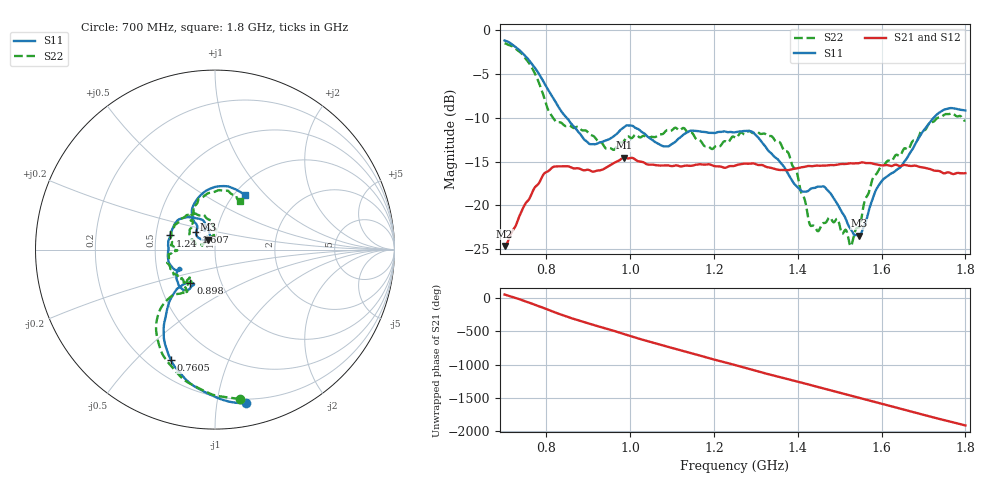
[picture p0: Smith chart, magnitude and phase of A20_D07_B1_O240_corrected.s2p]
! Created with skrf 1.9.0 (http://scikit-rf.org).
# Hz S RI R 50.0
!freq ReS11 ImS11 ReS21 ImS21 ReS12 ImS12 ReS22 ImS22
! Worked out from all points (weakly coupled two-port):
!   1601 points, 700 MHz to 1.8 GHz, reference 50 ohm
!   highest |S21| = -14.56 dB at 985.3 MHz (marker M1); lowest = -24.6 dB at 700 MHz (marker M2)
!   lowest |S11| = -23.5 dB at 1.546 GHz (marker M3), VSWR 1.14, Z = 46.1 + j5.16 ohm
!   |S11| at or under -10 dB: 848.5 MHz to 1.724 GHz (875.9 MHz wide, 68.1 % of centre)
!   |S22| runs from -24.7 to -1.5 dB; largest |S21 - S12| = 0.0035
!   S11 on the Smith chart (normalised r, x): 700 MHz: 0.17, -1.21; 760.5 MHz: 0.29, -0.64; 898 MHz: 0.71, -0.28; 1.24 GHz: 0.59, +0.10; 1.607 GHz: 0.80, +0.16; 1.8 GHz: 1.12, +0.77
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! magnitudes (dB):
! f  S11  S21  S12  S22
! 700 MHz  -1.2  -24.6  -24.4  -1.5
! 760.5 MHz  -3.6  -19.1  -19.0  -3.9
! 818.2 MHz  -7.9  -15.6  -15.7  -10.2
! 883.6 MHz  -12.1  -15.9  -15.8  -11.4
! 898 MHz  -12.8  -15.9  -16.0  -11.6
! 944.1 MHz  -12.6  -15.6  -15.7  -13.5
! 985.3 MHz  -11.1  -14.6  -14.6  -12.6
! 1.067 GHz  -13.0  -15.4  -15.4  -12.0
! 1.24 GHz  -11.6  -15.5  -15.6  -12.4
! 1.25 GHz  -11.7  -15.5  -15.4  -12.3
! 1.292 GHz  -11.6  -15.2  -15.2  -11.7
! 1.357 GHz  -15.0  -16.0  -15.9  -12.8
! 1.396 GHz  -17.8  -15.8  -15.8  -16.0
! 1.434 GHz  -18.0  -15.5  -15.5  -22.4
! 1.493 GHz  -19.8  -15.4  -15.4  -21.5
! 1.526 GHz  -22.7  -15.2  -15.2  -24.7
! 1.546 GHz  -23.5  -15.2  -15.2  -22.5
! 1.579 GHz  -19.1  -15.2  -15.2  -16.9
! 1.607 GHz  -16.9  -15.4  -15.4  -15.3
! 1.617 GHz  -16.6  -15.4  -15.4  -14.9
! 1.733 GHz  -9.6  -16.1  -16.1  -10.0
! 1.8 GHz  -9.2  -16.3  -16.3  -10.3
